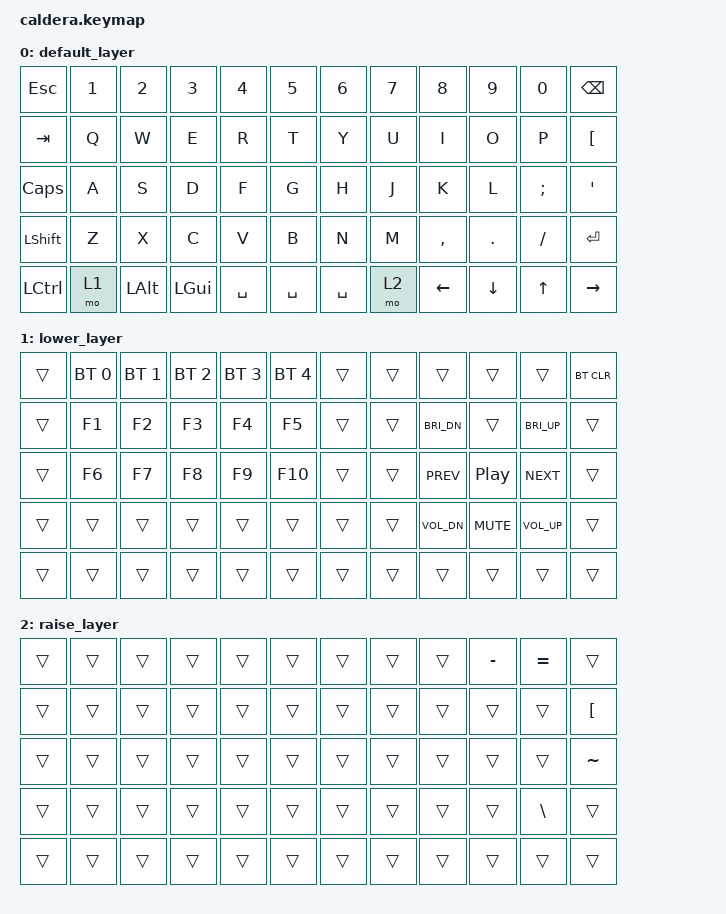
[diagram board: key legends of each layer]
/*
 * Copyright (c) 2020 The ZMK Contributors
 *
 * SPDX-License-Identifier: MIT
 */

#include <behaviors.dtsi>
#include <dt-bindings/zmk/keys.h>
#include <dt-bindings/zmk/bt.h>

/ {
        keymap {
                compatible = "zmk,keymap";

                default_layer {
// --------------------------------------------------------------------------------------------------
// | ESC |  1  |  2  |  3  |  4  |  5  |                 |  6  |  7   |  8  |  9  |  0  | BSPC |
// | TAB |  Q  |  W  |  E  |  R  |  T  |                 |  Y  |  U   |  I  |  O  |  P  | -    |
// | CAPS|  A  |  S  |  D  |  F  |  G  |                 |  H  |  J   |  K  |  L  |  ;  |  '   |
// | SHFT|  Z  |  X  |  C  |  V  |  B  |                 |  N  |  M   |  ,  |  .  |  /  | ENT  |
// | CTRL| RSE | ALT | GUI | SPC | SPC |                 | SPC | LOW  | LARW| DARW| UARW| RARW |
                        bindings = <
   &kp ESC   &kp N1   &kp N2   &kp N3   &kp N4    &kp N5      &kp N6    &kp N7 &kp N8    &kp N9   &kp N0   &kp BSPC
   &kp TAB   &kp Q    &kp W    &kp E    &kp R     &kp T       &kp Y     &kp U  &kp I     &kp O    &kp P    &kp LBKT
   &kp CAPS  &kp A    &kp S    &kp D    &kp F     &kp G       &kp H     &kp J  &kp K     &kp L    &kp SEMI &kp APOS
   &kp LSHFT &kp Z    &kp X    &kp C    &kp V     &kp B       &kp N     &kp M  &kp COMMA &kp DOT  &kp FSLH &kp ENTER
   &kp LCTRL &mo 1    &kp LALT &kp LGUI &kp SPACE &kp SPACE   &kp SPACE &mo 2  &kp LEFT  &kp DOWN &kp UP   &kp RIGHT
                        >;
                };
                lower_layer {
// --------------------------------------------------------------------------------------------------
// |     | BT1 | BT2 | BT3 | BT4 | BT5 |                 |     |     |      |      |      | BTCLR|
// |     | F1  | F2  |  F3 | F4  |  F5 |                 |     |     |BRI_DW|      |BRI_UP|      |
// |     | F6  | F7  |  F8 | F9  | F10 |                 |     |     |MUS_PP|MUS_P |MUS_NE|      |
// |     |     |     |     |     |     |                 |     |     |VOL_DW|VOL_MU|VOL_UP|      |
// |     |     |     |     |     |     |                 |     |     |      |      |      |      |
                        bindings = <
   &trans &bt BT_SEL 0 &bt BT_SEL 1 &bt BT_SEL 2 &bt BT_SEL 3 &bt BT_SEL 4   &trans &trans &trans       &trans       &trans       &bt BT_CLR
   &trans &kp F1       &kp F2       &kp F3       &kp F4       &kp F5         &trans &trans &kp C_BRI_DN &trans       &kp C_BRI_UP &trans
   &trans &kp F6       &kp F7       &kp F8       &kp F9       &kp F10        &trans &trans &kp C_PREV   &kp C_PP     &kp C_NEXT   &trans
   &trans &trans       &trans       &trans       &trans       &trans         &trans &trans &kp C_VOL_DN &kp C_MUTE   &kp C_VOL_UP &trans
   &trans &trans       &trans       &trans       &trans       &trans         &trans &trans &trans       &trans       &trans       &trans
                        >;
                };

                raise_layer {
// -----------------------------------------------------------------------------------------
// |     |     |     |     |     |     |                  |     |     |     |  -  |  =  |     |
// |     |     |     |     |     |     |                  |     |     |     |     |     | "-" |
// |     |     |     |     |     |     |                  |     |     |     |     |     |  ~  |
// |     |     |     |     |     |     |                  |     |     |     |     |  /  |     |
// |     |     |     |     |     |     |                  |     |     |     |     |     |     |
                         bindings = <
   &trans  &trans   &trans &trans   &trans   &trans      &trans    &trans    &trans    &kp MINUS &kp EQUAL &trans
   &trans  &trans   &trans &trans   &trans   &trans      &trans    &trans    &trans    &trans    &trans    &kp LBKT
   &trans  &trans   &trans &trans   &trans   &trans      &trans    &trans    &trans    &trans    &trans    &kp TILDE
   &trans  &trans   &trans &trans   &trans   &trans      &trans    &trans    &trans    &trans    &kp BSLH  &trans
   &trans  &trans   &trans &trans   &trans   &trans      &trans    &trans    &trans    &trans    &trans    &trans
                        >;
                };
        };
};
